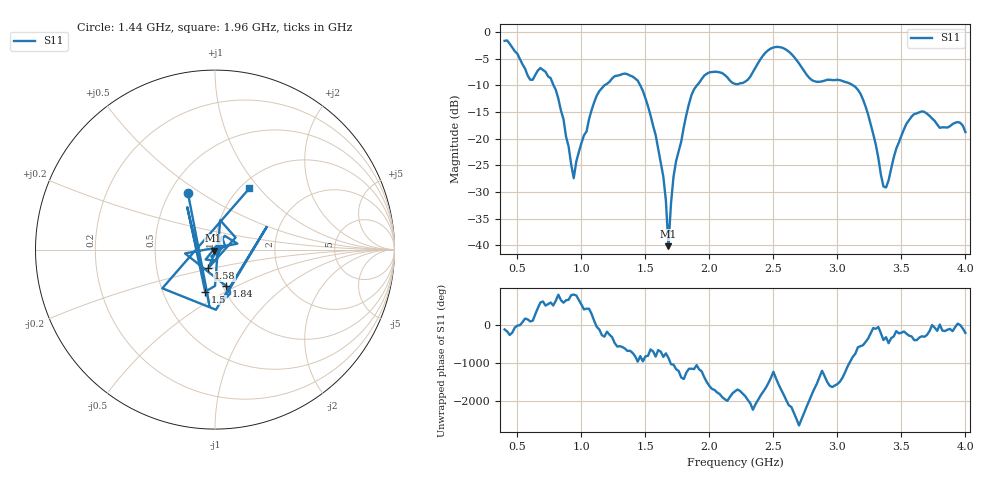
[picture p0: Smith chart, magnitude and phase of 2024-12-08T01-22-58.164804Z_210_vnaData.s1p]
!Created with skrf (http://scikit-rf.org).
# Hz S RI R 50.0
!freq ReS11 ImS11
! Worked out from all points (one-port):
!   181 points, 400 MHz to 4 GHz, reference 50 ohm
!   lowest |S11| = -40.1 dB at 1.68 GHz (marker M1), VSWR 1.02, Z = 49.2 - j0.587 ohm
!   |S11| at or under -10 dB: 783.1 MHz to 1.178 GHz (395.4 MHz wide, 40.3 % of centre); 1.461 GHz to 1.902 GHz (441 MHz wide, 26.2 % of centre); 3.124 GHz to end of sweep
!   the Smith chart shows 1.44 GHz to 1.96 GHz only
!   S11 on the Smith chart (normalised r, x): 1.44 GHz: 0.61, +0.44; 1.5 GHz: 0.81, -0.40; 1.58 GHz: 0.91, -0.19; 1.84 GHz: 1.04, -0.44; 1.96 GHz: 1.10, +0.89
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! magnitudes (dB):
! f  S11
! 400 MHz  -1.6
! 600 MHz  -8.9
! 680 MHz  -6.7
! 760 MHz  -8.6
! 860 MHz  -16.3
! 940 MHz  -27.4
! 1.12 GHz  -11.9
! 1.3 GHz  -8.1
! 1.44 GHz  -9.1
! 1.5 GHz  -12.4
! 1.58 GHz  -19.3
! 1.64 GHz  -27.1
! 1.66 GHz  -31.6
! 1.68 GHz  -40.1
! 1.72 GHz  -27.0
! 1.76 GHz  -22.4
! 1.84 GHz  -13.5
! 1.96 GHz  -8.1
! 2.2 GHz  -9.7
! 2.48 GHz  -3.1
! 2.66 GHz  -4.6
! 2.8 GHz  -9.0
! 3.1 GHz  -9.7
! 3.22 GHz  -13.9
! 3.36 GHz  -28.9
! 3.56 GHz  -16.5
! 3.66 GHz  -14.9
! 4 GHz  -18.7
